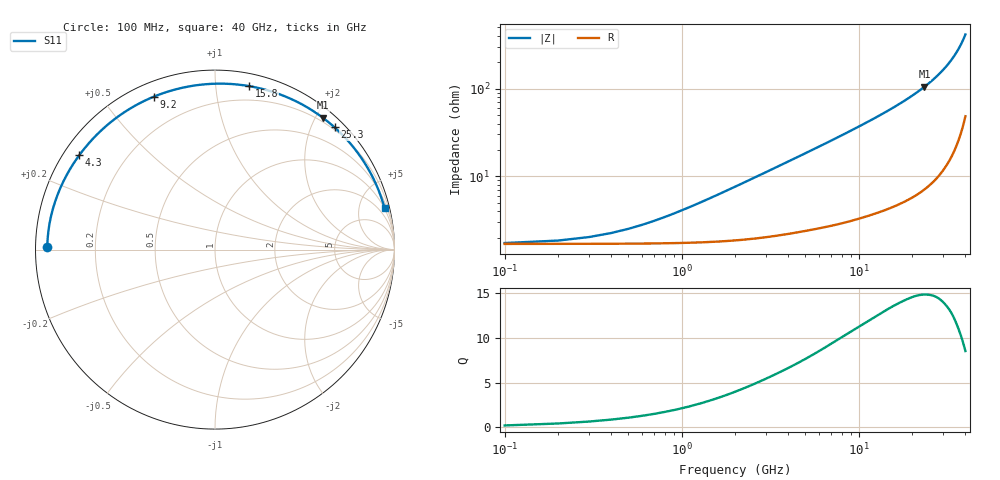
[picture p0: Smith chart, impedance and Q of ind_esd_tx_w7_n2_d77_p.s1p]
#  Hz  S  RI  R  50
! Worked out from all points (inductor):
!   400 points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, 100 MHz to 40 GHz, reference 50 ohm
!   read as one part to ground: L = 585 pH near 1.5 GHz
!   highest Q = 14.8 at 23.5 GHz (marker M1), where L = 711 pH
!   S11 on the Smith chart (normalised r, x): 100 MHz: 0.03, +0.01; 4.3 GHz: 0.05, +0.31; 9.2 GHz: 0.06, +0.67; 15.8 GHz: 0.09, +1.23; 25.3 GHz: 0.16, +2.37; 40 GHz: 0.97, +8.26
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1e8  -0.9345 0.0139
1e9  -0.9232 0.1374
2e9  -0.8904 0.2685
3.1e9  -0.8344 0.4003
4.3e9  -0.7558 0.5266
5.1e9  -0.696 0.6004
6.1e9  -0.6151 0.681
7.1e9  -0.5293 0.7489
8.1e9  -0.4407 0.8043
9.2e9  -0.3422 0.8515
1.01e10  -0.2622 0.8804
1.13e10  -0.1581 0.9067
1.25e10  -0.058 0.9209
1.38e10  0.0447 0.9245
1.51e10  0.1409 0.918
1.58e10  0.1899 0.9109
1.79e10  0.3244 0.8778
2.01e10  0.4463 0.8288
2.18e10  0.5281 0.7841
2.35e10  0.5999 0.7355
2.51e10  0.6592 0.6873
2.53e10  0.6662 0.6812
2.76e10  0.7379 0.6095
3.01e10  0.8015 0.5305
3.26e10  0.8524 0.452
3.51e10  0.8924 0.3747
3.75e10  0.9221 0.3025
4e10  0.9453 0.2292
